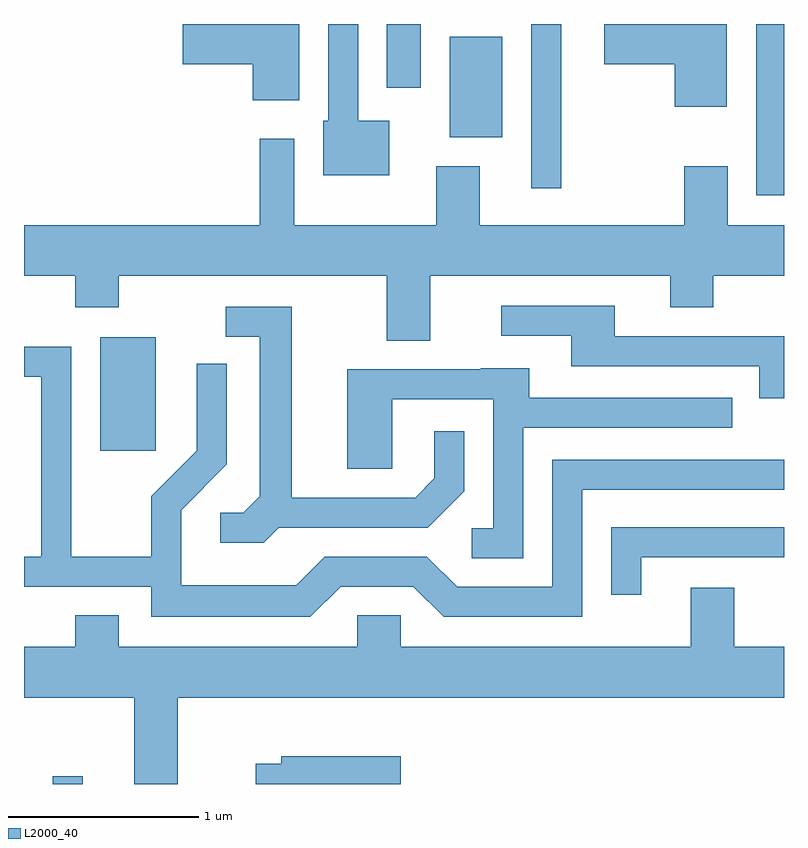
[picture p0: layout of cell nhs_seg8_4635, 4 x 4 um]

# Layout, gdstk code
import gdstk
lib = gdstk.Library(unit=1e-6, precision=1e-09)
def R(c, l, rs):  # rectangles x0, y0, x1, y1
    for r in rs: c.add(gdstk.rectangle(r[:2], r[2:], *l))
def P(c, l, *ps):  # polygons
    for p in ps: c.add(gdstk.Polygon(p, *l))
L2000_40 = (2000, 40)

nhs_seg8_4635 = lib.new_cell('nhs_seg8_4635')
R(nhs_seg8_4635, L2000_40, [(323.761,1900.342,323.919,1900.383), (324.011,1902.096,324.304,1902.694), (327.466,1903.441,327.611,1904.342), (326.281,1903.478,326.439,1904.342), (325.851,1903.746,326.129,1904.274), (325.521,1904.006,325.699,1904.342)])
P(nhs_seg8_4635, L2000_40, [(327.309,1904.342),(326.666,1904.342),(326.666,1904.131),(327.036,1904.131),(327.036,1903.906),(327.309,1903.906)],
  [(325.059,1904.342),(324.446,1904.342),(324.446,1904.131),(324.816,1904.131),(324.816,1903.941),(325.059,1903.941)],
  [(325.534,1903.834),(325.369,1903.834),(325.369,1904.342),(325.211,1904.342),(325.211,1903.834),(325.186,1903.834),(325.186,1903.546),(325.534,1903.546)],
  [(325.749,1903.016),(327.011,1903.016),(327.011,1902.851),(327.239,1902.851),(327.239,1903.016),(327.611,1903.016),(327.611,1903.284),(327.314,1903.284),(327.314,1903.594),(327.086,1903.594),(327.086,1903.284),(326.009,1903.284),(326.009,1903.594),(325.781,1903.594),(325.781,1903.284),(325.034,1903.284),(325.034,1903.739),(324.851,1903.739),(324.851,1903.284),(323.611,1903.284),(323.611,1903.016),(323.881,1903.016),(323.881,1902.851),(324.109,1902.851),(324.109,1903.016),(325.521,1903.016),(325.521,1902.676),(325.749,1902.676)],
  [(327.611,1902.699),(326.719,1902.699),(326.719,1902.859),(326.123,1902.859),(326.123,1902.701),(326.491,1902.701),(326.491,1902.541),(327.481,1902.541),(327.481,1902.371),(327.611,1902.371)],
  [(324.952,1901.691),(325.737,1901.691),(325.929,1901.884),(325.929,1902.198),(325.771,1902.198),(325.771,1901.952),(325.669,1901.849),(325.019,1901.849),(325.019,1902.854),(324.673,1902.854),(324.673,1902.696),(324.851,1902.696),(324.851,1901.857),(324.764,1901.769),(324.643,1901.769),(324.643,1901.611),(324.872,1901.611)],
  [(325.277,1901.381),(325.659,1901.381),(325.819,1901.221),(326.549,1901.221),(326.549,1901.891),(327.611,1901.891),(327.611,1902.049),(326.391,1902.049),(326.391,1901.379),(325.892,1901.379),(325.732,1901.539),(325.194,1901.539),(325.044,1901.389),(324.439,1901.389),(324.439,1901.784),(324.679,1902.024),(324.679,1902.553),(324.521,1902.553),(324.521,1902.097),(324.281,1901.857),(324.281,1901.539),(323.859,1901.539),(323.859,1902.644),(323.611,1902.644),(323.611,1902.486),(323.701,1902.486),(323.701,1901.539),(323.611,1901.539),(323.611,1901.381),(324.281,1901.381),(324.281,1901.221),(325.117,1901.221)],
  [(326.239,1902.216),(327.338,1902.216),(327.338,1902.374),(326.269,1902.374),(326.269,1902.529),(326.015,1902.529),(326.015,1902.524),(325.311,1902.524),(325.311,1902.001),(325.549,1902.001),(325.549,1902.366),(326.081,1902.366),(326.081,1901.689),(325.968,1901.689),(325.968,1901.531),(326.239,1901.531)],
  [(326.859,1901.536),(327.611,1901.536),(327.611,1901.694),(326.701,1901.694),(326.701,1901.338),(326.859,1901.338)],
  [(324.419,1900.796),(327.611,1900.796),(327.611,1901.064),(327.349,1901.064),(327.349,1901.374),(327.121,1901.374),(327.121,1901.064),(325.594,1901.064),(325.594,1901.229),(325.366,1901.229),(325.366,1901.064),(324.109,1901.064),(324.109,1901.229),(323.881,1901.229),(323.881,1901.064),(323.611,1901.064),(323.611,1900.796),(324.191,1900.796),(324.191,1900.342),(324.419,1900.342)],
  [(325.594,1900.489),(324.966,1900.489),(324.966,1900.449),(324.831,1900.449),(324.831,1900.342),(325.594,1900.342)])

lib.write_gds('nhs_seg8_4635.gds')
